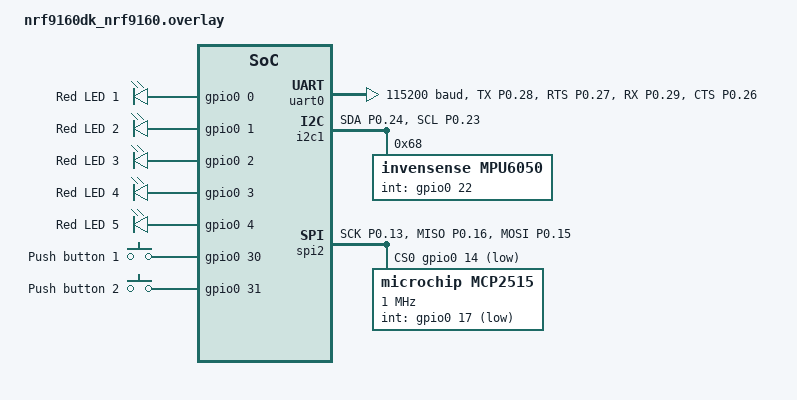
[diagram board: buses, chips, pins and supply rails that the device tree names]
// To get started, press Ctrl+Space to bring up the completion menu and view the available nodes.

// You can also use the buttons in the sidebar to perform actions on nodes.
// Actions currently available include:

// * Enabling / disabling the node
// * Adding the bus to a bus
// * Removing the node
// * Connecting ADC channels

// For more help, browse the DeviceTree documentation at https://docs.zephyrproject.org/latest/guides/dts/index.html
// You can also visit the nRF DeviceTree extension documentation at https://nrfconnect.github.io/vscode-nrf-connect/devicetree/nrfdevicetree.html

/ {
	leds {
		led0: led_0 {
			gpios = <&gpio0 0 0>;
			label = "Red LED 1";
		};
		led1: led_1 {
			gpios = <&gpio0 1 0>;
			label = "Red LED 2";
		};
		led2: led_2 {
			gpios = <&gpio0 2 0>;
			label = "Red LED 3";
		};
		led3: led_3 {
			gpios = <&gpio0 3 0>;
			label = "Red LED 4";
		};
		led4: led_4 {
			gpios = <&gpio0 4 0>;
			label = "Red LED 5";
		};
	};
	
	buttons {
		button0: button_0 {
			gpios = <&gpio0 30 (GPIO_PULL_DOWN | GPIO_ACTIVE_HIGH)>;
			label = "Push button 1";
		};
		button1: button_1 {
			gpios = <&gpio0 31 (GPIO_PULL_DOWN | GPIO_ACTIVE_HIGH)>;
			label = "Push button 2";
		};
	};

	aliases {
		led0 = &led0;
		led1 = &led1;
		led2 = &led2;
		led3 = &led3;
		led4 = &led4;
		sw0 = &button0;
		sw1 = &button1;
	};

	chosen {
		zephyr,console = &uart0;
		zephyr,shell-uart = &uart0;
		zephyr,uart-mcumgr = &uart0;
		zephyr,canbus = &mcp2515;
		zephyr,mpu6050 = &mpu6050;
	};
};

&pinctrl {
	uart0_default: uart0_default {
		group1 {
			psels = <NRF_PSEL(UART_TX, 0, 28)>,
				<NRF_PSEL(UART_RTS, 0, 27)>;
		};
		group2 {
			psels = <NRF_PSEL(UART_RX, 0, 29)>,
				<NRF_PSEL(UART_CTS, 0, 26)>;
			bias-pull-up;
		};
	};

	uart0_sleep: uart0_sleep {
		group1 {
			psels = <NRF_PSEL(UART_TX, 0, 29)>,
				<NRF_PSEL(UART_RX, 0, 27)>,
				<NRF_PSEL(UART_RTS, 0, 29)>,
				<NRF_PSEL(UART_CTS, 0, 26)>;
			low-power-enable;
		};
	};

	i2c1_default: i2c1_default {
		group1 {
			psels = <NRF_PSEL(TWIM_SDA, 0, 24)>,
				<NRF_PSEL(TWIM_SCL, 0, 23)>;
		};
	};

	i2c1_sleep: i2c1_sleep {
		group1 {
			psels = <NRF_PSEL(TWIM_SDA, 0, 24)>,
				<NRF_PSEL(TWIM_SCL, 0, 23)>;
			low-power-enable;
		};
	};

	spi2_default: spi2_default {
		group1 {
			psels = <NRF_PSEL(SPIM_SCK, 0, 13)>,
				<NRF_PSEL(SPIM_MISO, 0, 16)>,
				<NRF_PSEL(SPIM_MOSI, 0, 15)>;
		};
	};

	spi2_sleep: spi2_sleep {
		group1 {
			psels = <NRF_PSEL(SPIM_SCK, 0, 13)>,
				<NRF_PSEL(SPIM_MISO, 0, 16)>,
				<NRF_PSEL(SPIM_MOSI, 0, 15)>;
			low-power-enable;
		};
	};
};

&uart0 {
	status = "okay";
	current-speed = <115200>;
	pinctrl-0 = <&uart0_default>;
	pinctrl-1 = <&uart0_sleep>;
	pinctrl-names = "default", "sleep";
};

&i2c1 {
	status = "okay";
	pinctrl-0 = <&i2c1_default>;
	pinctrl-1 = <&i2c1_sleep>;
	pinctrl-names = "default", "sleep";
	mpu6050: mpu6050@68 {
		compatible = "invensense,mpu6050";
		reg = <0x68>;
		status = "okay";
		int-gpios = <&gpio0 22 GPIO_ACTIVE_HIGH>;
	};
};

&spi2 {
	status = "okay";
	cs-gpios = <&gpio0 14 GPIO_ACTIVE_LOW>;
	pinctrl-0 = <&spi2_default>;
	pinctrl-1 = <&spi2_sleep>;
	pinctrl-names = "default", "sleep";

	mcp2515: can@0 {
		compatible = "microchip,mcp2515";
		spi-max-frequency = <1000000>;
		int-gpios = <&gpio0 17 GPIO_ACTIVE_LOW>;
		status = "okay";
		reg = <0x0>;
		osc-freq = <8000000>;
		bus-speed = <500000>;
		sjw = <1>;
		sample-point = <875>;

		can-transceiver {
			max-bitrate = <1000000>;
		};
	};
};

// by default every peripheral is disabled
// on the DK Arduino peripherals and console are default enabled
// UART0, UART1, I2C2, PWM0, SPI3, timer0, timer1, timer2, adc

&uart1 {
	status = "disabled";
};

&pwm0 {
	status = "disabled";
};

&i2c2 {
	status = "disabled";
};

&spi3 {
	status = "disabled";
};

&timer0 {
	status = "disabled";
};

&timer1 {
	status = "disabled";
};

&timer2 {
	status = "disabled";
};

&adc {
    status = "disabled";
};
